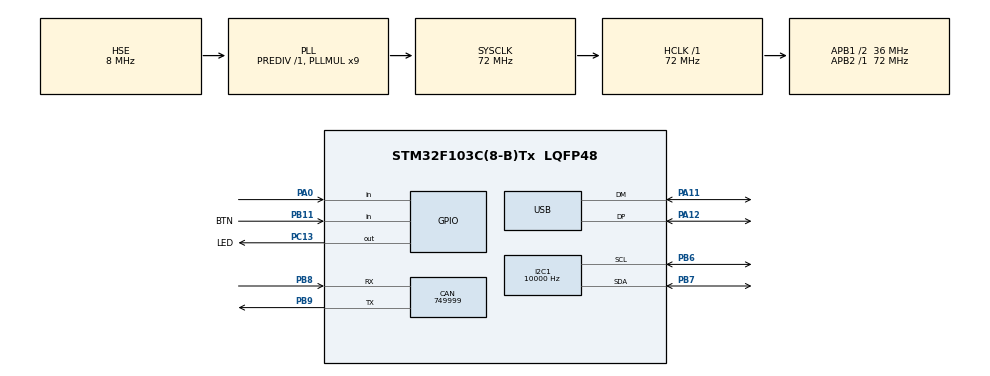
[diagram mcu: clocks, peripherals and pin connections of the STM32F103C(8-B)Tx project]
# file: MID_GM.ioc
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CAN.CalculateBaudRate=749999
CAN.CalculateTimeBit=1333
CAN.CalculateTimeQuantum=444.44444444444446
I2C1.ClockSpeed=10000
Mcu.Family=STM32F1
Mcu.Name=STM32F103C(8-B)Tx
Mcu.Package=LQFP48
NVIC.PriorityGroup=NVIC_PRIORITYGROUP_4
NVIC.USB_LP_CAN1_RX0_IRQn=true\:0\:0\:false\:false\:true\:false\:true\:true
PA0-WKUP.Signal=GPIO_Input
PA11.Mode=Device
PA11.Signal=USB_DM
PA12.Mode=Device
PA12.Signal=USB_DP
PA13.Mode=Serial_Wire
PA13.Signal=SYS_JTMS-SWDIO
PA14.Mode=Serial_Wire
PA14.Signal=SYS_JTCK-SWCLK
PB11.GPIO_Label=BTN
PB11.Signal=GPIO_Input
PB6.Mode=I2C
PB6.Signal=I2C1_SCL
PB7.Mode=I2C
PB7.Signal=I2C1_SDA
PB8.Mode=CAN_Activate
PB8.Signal=CAN_RX
PB9.Mode=CAN_Activate
PB9.Signal=CAN_TX
PC13-TAMPER-RTC.GPIO_Label=LED
PC13-TAMPER-RTC.Signal=GPIO_Output
PC14-OSC32_IN.Mode=LSE-External-Oscillator
PC14-OSC32_IN.Signal=RCC_OSC32_IN
PC15-OSC32_OUT.Mode=LSE-External-Oscillator
PC15-OSC32_OUT.Signal=RCC_OSC32_OUT
PD0-OSC_IN.Mode=HSE-External-Oscillator
PD0-OSC_IN.Signal=RCC_OSC_IN
PD1-OSC_OUT.Mode=HSE-External-Oscillator
PD1-OSC_OUT.Signal=RCC_OSC_OUT
ProjectManager.HeapSize=0x200
ProjectManager.StackSize=0x400
ProjectManager.TargetToolchain=CMake
RCC.AHBFreq_Value=72000000
RCC.APB1CLKDivider=RCC_HCLK_DIV2
RCC.APB1Freq_Value=36000000
RCC.APB1TimFreq_Value=72000000
RCC.APB2Freq_Value=72000000
RCC.APB2TimFreq_Value=72000000
RCC.HCLKFreq_Value=72000000
RCC.PLLMUL=RCC_PLL_MUL9
RCC.SYSCLKFreq_VALUE=72000000
RCC.SYSCLKSource=RCC_SYSCLKSOURCE_PLLCLK
RCC.USBFreq_Value=48000000
RCC.USBPrescaler=RCC_USBCLKSOURCE_PLL_DIV1_5
USB_DEVICE.CLASS_NAME_FS=CDC
USB_DEVICE.VirtualMode=Cdc
USB_DEVICE.VirtualModeFS=Cdc_FS
VP_USB_DEVICE_VS_USB_DEVICE_CDC_FS.Mode=CDC_FS
board=custom

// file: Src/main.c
/* USER CODE BEGIN Header */
/**
  ******************************************************************************
  * @file           : main.c
  * @brief          : Main program body
  ******************************************************************************
  * @attention
  *
  * Copyright (c) 2026 STMicroelectronics.
  * All rights reserved.
  *
  * This software is licensed under terms that can be found in the LICENSE file
  * in the root directory of this software component.
  * If no LICENSE file comes with this software, it is provided AS-IS.
  *
  ******************************************************************************
  */
/* USER CODE END Header */
#include "main.h"
#include "can.h"
#include "i2c.h"
#include "usb_device.h"
#include "gpio.h"

/* USER CODE BEGIN Includes */
#include "ssd1306.h"
#include "fonts.h"
#include "horse_anim.h"
/* USER CODE END Includes */

void SystemClock_Config(void);

int main(void)
{

  /* MCU Configuration--------------------------------------------------------*/

  /* Reset of all peripherals, Initializes the Flash interface and the Systick. */
  HAL_Init();

  /* Configure the system clock */
  SystemClock_Config();

  /* Initialize all configured peripherals */
  MX_GPIO_Init();
  MX_CAN_Init();
  MX_USB_DEVICE_Init();
  MX_I2C1_Init();
  /* USER CODE BEGIN 2 */
  SSD1306_Init(); // initialise the display
  SSD1306_GotoXY (0,0); // goto 10, 10
  SSD1306_Puts ("Este e um", &Font_11x18, 1); // print Hello
  SSD1306_GotoXY (0, 20);
  SSD1306_Puts ("teste de", &Font_11x18, 1);
  SSD1306_GotoXY (0, 40);
  SSD1306_Puts ("Escrita", &Font_11x18, 1);
  SSD1306_UpdateScreen(); // update screen
  HAL_Delay (1000);
  /* USER CODE END 2 */

  /* Infinite loop */
  /* USER CODE BEGIN WHILE */
  while (1)
  {

    CAN_RxFrame_t frame;

    if (CAN_RxAvailable())
    {
      CAN_RxPop(&frame);
      // frame.timestamp_ms
    }

    HAL_Delay(1000);

    /* USER CODE END WHILE */

  }
}

void SystemClock_Config(void)
{
  RCC_OscInitTypeDef RCC_OscInitStruct = {0};
  RCC_ClkInitTypeDef RCC_ClkInitStruct = {0};
  RCC_PeriphCLKInitTypeDef PeriphClkInit = {0};

  /** Initializes the RCC Oscillators according to the specified parameters
  * in the RCC_OscInitTypeDef structure.
  */
  RCC_OscInitStruct.OscillatorType = RCC_OSCILLATORTYPE_HSE;
  RCC_OscInitStruct.HSEState = RCC_HSE_ON;
  RCC_OscInitStruct.HSEPredivValue = RCC_HSE_PREDIV_DIV1;
  RCC_OscInitStruct.HSIState = RCC_HSI_ON;
  RCC_OscInitStruct.PLL.PLLState = RCC_PLL_ON;
  RCC_OscInitStruct.PLL.PLLSource = RCC_PLLSOURCE_HSE;
  RCC_OscInitStruct.PLL.PLLMUL = RCC_PLL_MUL9;
  if (HAL_RCC_OscConfig(&RCC_OscInitStruct) != HAL_OK)
  {
    Error_Handler();
  }

  /** Initializes the CPU, AHB and APB buses clocks
  */
  RCC_ClkInitStruct.ClockType = RCC_CLOCKTYPE_HCLK|RCC_CLOCKTYPE_SYSCLK
                              |RCC_CLOCKTYPE_PCLK1|RCC_CLOCKTYPE_PCLK2;
  RCC_ClkInitStruct.SYSCLKSource = RCC_SYSCLKSOURCE_PLLCLK;
  RCC_ClkInitStruct.AHBCLKDivider = RCC_SYSCLK_DIV1;
  RCC_ClkInitStruct.APB1CLKDivider = RCC_HCLK_DIV2;
  RCC_ClkInitStruct.APB2CLKDivider = RCC_HCLK_DIV1;

  if (HAL_RCC_ClockConfig(&RCC_ClkInitStruct, FLASH_LATENCY_2) != HAL_OK)
  {
    Error_Handler();
  }
  PeriphClkInit.PeriphClockSelection = RCC_PERIPHCLK_USB;
  PeriphClkInit.UsbClockSelection = RCC_USBCLKSOURCE_PLL_DIV1_5;
  if (HAL_RCCEx_PeriphCLKConfig(&PeriphClkInit) != HAL_OK)
  {
    Error_Handler();
  }
}

void Error_Handler(void)
{
  __disable_irq();
  while (1)
  {
  }
}
